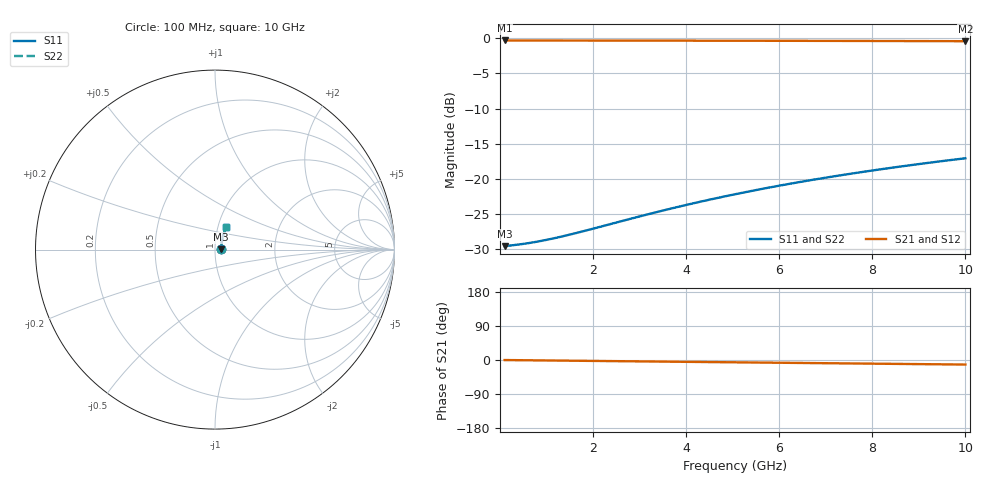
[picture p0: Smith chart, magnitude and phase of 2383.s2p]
# Hz S RI R 50.00
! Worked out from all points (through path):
!   100 points, 100 MHz to 10 GHz, reference 50 ohm
!   highest |S21| = -0.29 dB at 100 MHz (marker M1); lowest = -0.4 dB at 10 GHz (marker M2)
!   group delay of S21, straight-line fit = 3.34 ps
!   lowest |S11| = -29.6 dB at 100 MHz (marker M3), VSWR 1.07, Z = 53.4 + j0.139 ohm
!   |S11| at or under -10 dB: start of sweep to end of sweep
!   |S22| runs from -29.6 to -17.1 dB; largest |S21 - S12| = 0
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1e8  0.0329 0.0013  0.9671 -0.00205  0.9671 -0.00205  0.0329 0.0013
5e8  0.0336 0.00651  0.9664 -0.0102  0.9664 -0.0102  0.0336 0.00651
7e8  0.0338 0.00911  0.9662 -0.0143  0.9662 -0.0143  0.0338 0.00911
9e8  0.0341 0.0117  0.9659 -0.0184  0.9659 -0.0184  0.0341 0.0117
1.1e9  0.0343 0.0143  0.9657 -0.0225  0.9657 -0.0225  0.0343 0.0143
1.3e9  0.0345 0.0169  0.9654 -0.0265  0.9654 -0.0265  0.0345 0.0169
1.5e9  0.0348 0.0195  0.9652 -0.0306  0.9652 -0.0306  0.0348 0.0195
1.8e9  0.0352 0.0234  0.9647 -0.0367  0.9647 -0.0367  0.0352 0.0234
2.9e9  0.0369 0.0375  0.9628 -0.059  0.9628 -0.059  0.0369 0.0375
3.4e9  0.0379 0.0439  0.9617 -0.0692  0.9617 -0.0692  0.0379 0.0439
3.8e9  0.0388 0.049  0.9608 -0.0772  0.9608 -0.0772  0.0388 0.049
4.2e9  0.0398 0.0541  0.9597 -0.0853  0.9597 -0.0853  0.0398 0.0541
4.6e9  0.0408 0.0592  0.9586 -0.0933  0.9586 -0.0933  0.0408 0.0592
5.1e9  0.0422 0.0655  0.957 -0.1034  0.957 -0.1034  0.0422 0.0655
5.5e9  0.0434 0.0705  0.9557 -0.1113  0.9557 -0.1113  0.0434 0.0705
5.9e9  0.0447 0.0755  0.9543 -0.1193  0.9543 -0.1193  0.0447 0.0755
6.3e9  0.0461 0.0805  0.9527 -0.1272  0.9527 -0.1272  0.0461 0.0805
6.7e9  0.0476 0.0854  0.9511 -0.1352  0.9511 -0.1352  0.0476 0.0854
7.5e9  0.0507 0.0952  0.9476 -0.1509  0.9476 -0.1509  0.0507 0.0952
8.4e9  0.0547 0.106  0.9433 -0.1684  0.9433 -0.1684  0.0547 0.106
9.2e9  0.0585 0.1155  0.9391 -0.1839  0.9391 -0.1839  0.0585 0.1155
1e10  0.0626 0.1248  0.9345 -0.1991  0.9345 -0.1991  0.0626 0.1248
